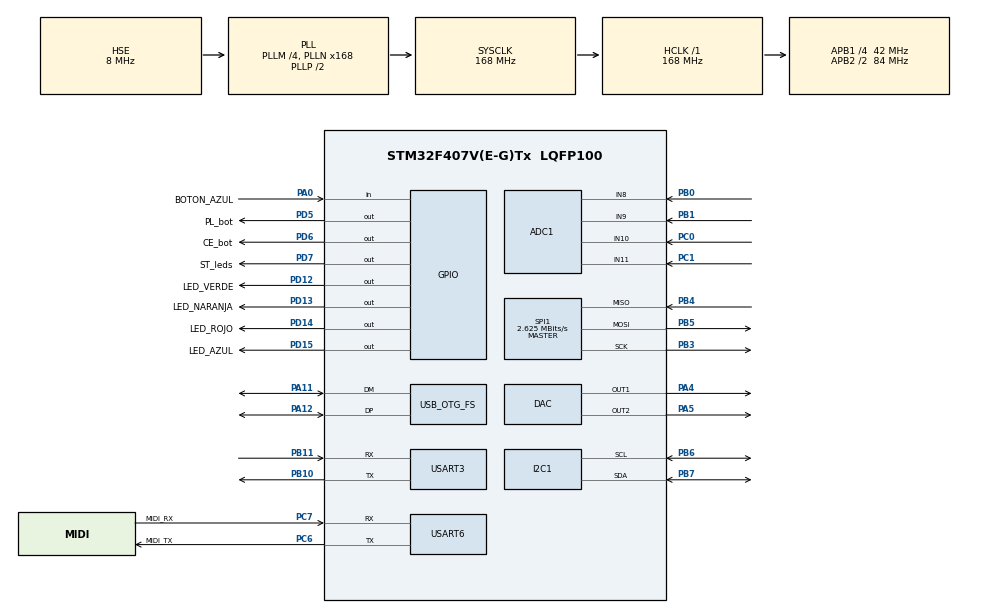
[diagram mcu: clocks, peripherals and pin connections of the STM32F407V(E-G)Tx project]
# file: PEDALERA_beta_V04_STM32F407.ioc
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ADC1.Channel-0\#ChannelRegularConversion=ADC_CHANNEL_8
ADC1.Channel-1\#ChannelRegularConversion=ADC_CHANNEL_9
ADC1.Channel-2\#ChannelRegularConversion=ADC_CHANNEL_10
ADC1.ContinuousConvMode=DISABLE
ADC1.NbrOfConversion=3
ADC1.NbrOfConversionFlag=1
ADC1.Rank-0\#ChannelRegularConversion=1
ADC1.Rank-1\#ChannelRegularConversion=2
ADC1.Rank-2\#ChannelRegularConversion=3
ADC1.SamplingTime-0\#ChannelRegularConversion=ADC_SAMPLETIME_15CYCLES
ADC1.SamplingTime-1\#ChannelRegularConversion=ADC_SAMPLETIME_15CYCLES
ADC1.SamplingTime-2\#ChannelRegularConversion=ADC_SAMPLETIME_15CYCLES
ADC1.master=1
I2C1.I2C_Mode=I2C_Fast
Mcu.Family=STM32F4
Mcu.Name=STM32F407V(E-G)Tx
Mcu.Package=LQFP100
Mcu.UserConstants=USE_USB_FS,1
NVIC.ADC_IRQn=true\:0\:0\:false\:false\:true\:true\:true
NVIC.I2C1_ER_IRQn=true\:0\:0\:false\:false\:true\:true\:true
NVIC.I2C1_EV_IRQn=true\:0\:0\:false\:false\:true\:true\:true
NVIC.OTG_FS_IRQn=true\:0\:0\:false\:false\:true\:false\:true
NVIC.PriorityGroup=NVIC_PRIORITYGROUP_0
NVIC.SPI1_IRQn=true\:0\:0\:false\:false\:true\:true\:true
NVIC.TIM2_IRQn=true\:0\:0\:false\:false\:true\:true\:true
NVIC.TIM3_IRQn=true\:0\:0\:false\:false\:true\:true\:true
PA0-WKUP.GPIO_Label=BOTON_AZUL
PA0-WKUP.Signal=GPIO_Input
PA11.Mode=Device_Only
PA11.Signal=USB_OTG_FS_DM
PA12.Mode=Device_Only
PA12.Signal=USB_OTG_FS_DP
PA13.Mode=Serial_Wire
PA13.Signal=SYS_JTMS-SWDIO
PA14.Mode=Serial_Wire
PA14.Signal=SYS_JTCK-SWCLK
PA4.Signal=COMP_DAC1_group
PA5.Signal=COMP_DAC2_group
PB0.Signal=ADCx_IN8
PB1.Signal=ADCx_IN9
PB10.Mode=Asynchronous
PB10.Signal=USART3_TX
PB11.Mode=Asynchronous
PB11.Signal=USART3_RX
PB3.Mode=Full_Duplex_Master
PB3.Signal=SPI1_SCK
PB4.Mode=Full_Duplex_Master
PB4.Signal=SPI1_MISO
PB5.Mode=Full_Duplex_Master
PB5.Signal=SPI1_MOSI
PB6.Mode=I2C
PB6.Signal=I2C1_SCL
PB7.Mode=I2C
PB7.Signal=I2C1_SDA
PC0.Signal=ADCx_IN10
PC1.Signal=ADCx_IN11
PC6.GPIO_Label=MIDI_TX
PC6.Mode=Asynchronous
PC6.Signal=USART6_TX
PC7.GPIO_Label=MIDI_RX
PC7.Mode=Asynchronous
PC7.Signal=USART6_RX
PD12.GPIO_Label=LED_VERDE
PD12.GPIO_PuPd=GPIO_NOPULL
PD12.Signal=GPIO_Output
PD13.GPIO_Label=LED_NARANJA
PD13.GPIO_PuPd=GPIO_NOPULL
PD13.Signal=GPIO_Output
PD14.GPIO_Label=LED_ROJO
PD14.GPIO_PuPd=GPIO_NOPULL
PD14.Signal=GPIO_Output
PD15.GPIO_Label=LED_AZUL
PD15.GPIO_PuPd=GPIO_NOPULL
PD15.Signal=GPIO_Output
PD5.GPIO_Label=PL_bot
PD5.Signal=GPIO_Output
PD6.GPIO_Label=CE_bot
PD6.Signal=GPIO_Output
PD7.GPIO_Label=ST_leds
PD7.Signal=GPIO_Output
PH0-OSC_IN.Mode=HSE-External-Oscillator
PH0-OSC_IN.Signal=RCC_OSC_IN
PH1-OSC_OUT.Mode=HSE-External-Oscillator
PH1-OSC_OUT.Signal=RCC_OSC_OUT
ProjectManager.HeapSize=0x600
ProjectManager.StackSize=0x400
ProjectManager.TargetToolchain=STM32CubeIDE
RCC.48MHZClocksFreq_Value=48000000
RCC.AHBFreq_Value=168000000
RCC.APB1CLKDivider=RCC_HCLK_DIV4
RCC.APB1Freq_Value=42000000
RCC.APB1TimFreq_Value=84000000
RCC.APB2CLKDivider=RCC_HCLK_DIV2
RCC.APB2Freq_Value=84000000
RCC.APB2TimFreq_Value=168000000
RCC.CortexFreq_Value=168000000
RCC.HCLKFreq_Value=168000000
RCC.HSE_VALUE=8000000
RCC.HSI_VALUE=16000000
RCC.LSE_VALUE=32768
RCC.PLLM=4
RCC.PLLN=168
RCC.PLLQ=7
RCC.SYSCLKFreq_VALUE=168000000
RCC.SYSCLKSource=RCC_SYSCLKSOURCE_PLLCLK
RCC.VCOOutputFreq_Value=336000000
SH.ADCx_IN10.0=ADC1_IN10,IN10
SH.ADCx_IN11.0=ADC1_IN11,IN11
SH.ADCx_IN8.0=ADC1_IN8,IN8
SH.ADCx_IN9.0=ADC1_IN9,IN9
SH.COMP_DAC1_group.0=DAC_OUT1,DAC_OUT1
SH.COMP_DAC2_group.0=DAC_OUT2,DAC_OUT2
SPI1.BaudRatePrescaler=SPI_BAUDRATEPRESCALER_32
SPI1.CalculateBaudRate=2.625 MBits/s
SPI1.Direction=SPI_DIRECTION_2LINES
SPI1.FirstBit=SPI_FIRSTBIT_MSB
SPI1.Mode=SPI_MODE_MASTER
SPI1.VirtualType=VM_MASTER
TIM2.Period=840-1
TIM2.Prescaler=100-1
TIM3.Period=16-1
TIM3.Prescaler=119-1
USART3.VirtualMode=VM_ASYNC
USART6.VirtualMode=VM_ASYNC
USB_DEVICE.CLASS_NAME_FS=AUDIO
USB_DEVICE.CONFIGURATION_STRING_AUDIO_FS=MIDI Controller Config
USB_DEVICE.INTERFACE_STRING_AUDIO_FS=MIDI Controller Interface
USB_DEVICE.LANGID_STRING-AUDIO_FS=1040
USB_DEVICE.MANUFACTURER_STRING-AUDIO_FS=S&S Instrumentos
USB_DEVICE.PRODUCT_STRING_AUDIO_FS=S&S Instrumentos
USB_DEVICE.USBD_MAX_NUM_INTERFACES-AUDIO_FS=2
USB_DEVICE.VID-AUDIO_FS=2236
USB_DEVICE.VirtualMode-AUDIO_FS=Audio
USB_DEVICE.VirtualModeFS=Audio_FS
USB_OTG_FS.VirtualMode=Device_Only
VP_TIM2_VS_ClockSourceINT.Mode=Internal
VP_TIM3_VS_ClockSourceINT.Mode=Internal
VP_USB_DEVICE_VS_USB_DEVICE_AUDIO_FS.Mode=AUDIO_FS
board=STM32F407G-DISC1

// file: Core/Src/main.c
/* USER CODE BEGIN Header */
/**
  ******************************************************************************
  * @file           : main.c
  * @brief          : Main program body
  ******************************************************************************
  * @attention
  *
  * <h2><center>&copy; Copyright (c) 2020 STMicroelectronics.
  * All rights reserved.</center></h2>
  *
  * This software component is licensed by ST under BSD 3-Clause license,
  * the "License"; You may not use this file except in compliance with the
  * License. You may obtain a copy of the License at:
  *                        opensource.org/licenses/BSD-3-Clause
  *
  ******************************************************************************
  */
/* USER CODE END Header */

#include "main.h"
#include "adc.h"
#include "dac.h"
#include "i2c.h"
#include "spi.h"
#include "tim.h"
#include "usart.h"
#include "usb_device.h"
#include "gpio.h"

/* USER CODE BEGIN Includes */
#include "buttonsBPMFX.h"
#include "74HC165_SPI_lfs.h"
#include "74_HC595_SPI_lfs.h"
#include "usbd_midi_if.h"
#include "SSpedalBPMFX.h"
#include "osc_dac_lfs.h"

//#include "usbd_core.h"
/* USER CODE END Includes */

/* USER CODE BEGIN PTD */

typedef enum{
	NO_SCREEN,
	TURN_ON_SCREEN,
	PLEASE_WAIT_SCREEN,
	MAIN_SCREEN,
	CHORD_SCREEN,
	TUNNE_SCREEN,
	PRESET_SCREEN,
	RECUEST_FOOTKEY_SCREEN,
	POPUP_SAVED_CHORD,
	POPUP_OCTAVE,
	POPUP_SUSTAIN,
	POPUP_CANCEL,
}SCREEN_NUM;

typedef enum{
	NORMAL,
	SAVE_CHORD,
	SAVE_TUNNE,
}FOOTKEY_FUNC;

/* USER CODE END PTD */

/* USER CODE BEGIN PD */
#define MIDI_C2 36
#define MIDI_B2 47
/* USER CODE END PD */

/* USER CODE BEGIN PM */
#define GETBUTTONSTATUS(BUTTON,EDGE) (EDGE & (0B1 << (BUTTON)))
/* USER CODE END PM */

/* USER CODE BEGIN PV */
unsigned long lastSendNote[] =  { 0,  0,  0,  0,  0,  0,  0,  0,  0,  0,  0,  0,  0};   // vector para apagar la ultima nota mandada por el pedal (salva el error del octavador)
unsigned long lastSustainNote = 0;		//

uint8_t sustainFlag = 1;   /// flag to switch on/off a sustained note.

uint8_t sustainMode = 0; // 0: none, 1: prop, 2: midi.

//variables del adc
uint32_t bufferADC [3] = {0, 0, 0};
uint8_t flag_adc = 0;
uint16_t refresh_adc = 500;

//variables de escritura de leds
uint16_t leds_octava;
uint16_t leds_presets;
uint16_t leds_resto;
uint16_t leds_buffer;

//variables de lectura de botones:
uint32_t read_button = 0xFFFFFFFF;
uint32_t last_button = 0xFFFFFFFF;
uint32_t buttonFall = 0;
uint32_t buttonRise = 0;
uint8_t refresh_buttons = 20;
BUTTON_T teclas[] = {
						IN_DO,
						IN_REb,
						IN_RE,
						IN_MIb,
						IN_MI,
						IN_FA,
						IN_SOLb,
						IN_SOL,
						IN_LAb,
						IN_LA,
						IN_SIb,
						IN_SI,
						IN_DO8,
};

//uint8_t buttonState [STRUCT_LENGTH];
//uint8_t lastState [STRUCT_LENGTH];

uint32_t last_GPIOB_IDR = 0;

SCREEN_NUM menu = MAIN_SCREEN;

uint8_t presetLed = 0; // flag to manage the presets leds. 0 value is the first.

uint8_t acorde = 0;	// flag to switch on/off the chord mode

uint8_t tunne = 0;		// flag to switch on/off the tunne mode

//unsigned int d_pad;  //las flechitas pulsadas: 0-ninguna, 1-arriba, 2-abajo, 3-izquierda, 4-derecha.

SCREEN_NUM screenNum = NO_SCREEN;	//flag to select the screen to display.
SCREEN_NUM last_screenNum = MAIN_SCREEN;	//flag to select the screen to display.

volatile int32_t popup_time = 0;
volatile uint8_t popup_timeUp = 0;

uint8_t lastKey_pos; // used to show the footkey possition in the "pop_up_savedChord()" function.

uint8_t generalState = 0; // global state machine variable.

FOOTKEY_FUNC footKey = NORMAL;

extern unsigned int   chordSelect_cursor;  //posicion del cursor en el menu de acordes.

extern int chord;

extern uint8_t firstDoTunning;

extern int chordInv;

extern int octava;

uint8_t midi_msg[4]; //midi frame to send over USB.

uint8_t flag_tick= 0; // HAL_TIM_PeriodElapsedCallback flag for tick.
uint8_t flag_dac = 0; // HAL_TIM_PeriodElapsedCallback flag for dac.
uint8_t lcd_refresh_time = 25;

/* USER CODE END PV */

void SystemClock_Config(void);
/* USER CODE BEGIN PFP */

void sustainProp(void);
void sustainMIDI(void);
void inputChord(void);
void inputOctave(void);
void inputTunne(void);
void inputPresets(void);
void inputNotes(void);
void inputSaveChord(void);
void chordSelect(void);
void tunneSelect(void);
void sendChord(unsigned long, int, int);
void showLeds(void);

/* USER CODE END PFP */

int main(void)
{

  /* MCU Configuration--------------------------------------------------------*/

  /* Reset of all peripherals, Initializes the Flash interface and the Systick. */
  HAL_Init();

  /* USER CODE BEGIN Init */
  firstDoTunning = 36;

  /* USER CODE END Init */

  /* Configure the system clock */
  SystemClock_Config();

  /* USER CODE BEGIN SysInit */

  /*
   * TIM2 is an 1 ms tick timer.
   * TIM3 is a 44100Hz timer.
   */

  /* USER CODE END SysInit */

  /* Initialize all configured peripherals */
  MX_GPIO_Init();
  MX_DAC_Init();
  MX_I2C1_Init();
  MX_USB_DEVICE_Init();
  MX_TIM2_Init();
  MX_TIM3_Init();
  MX_ADC1_Init();
  MX_USART3_UART_Init();
  MX_USART6_UART_Init();
  MX_SPI1_Init();
  /* USER CODE BEGIN 2 */
  spi_74HC165_init(&hspi1, PL_bot_GPIO_Port, PL_bot_Pin, CE_bot_GPIO_Port, CE_bot_Pin);
  spi_74HC595_init(&hspi1, ST_leds_GPIO_Port, ST_leds_Pin);

  adc_potes_init();

  HAL_TIM_Base_Start_IT(&htim2); // 1 ms tick timer.
  HAL_TIM_Base_Start_IT(&htim3); // 44100Hz timer.

  osc_dac_init(&hdac, DAC_CHANNEL_1);
  osc_setRatios(100, 100, 100);

  leds_buffer = 0xFFFF;
  spi_74HC595_Transmit((uint8_t*) &leds_buffer, 2 /*bytes*/);

  lcd_init(&hi2c1, 0x3f);

  //rutina de encendido//

  turnOnScreen();
  HAL_Delay(500);
  showLeds();
  HAL_Delay(500);
  mainScreen();
  leds_octava = 0b1 << LED_OCT_M;
  leds_buffer = leds_octava;
  leds_buffer = ~leds_buffer;
  spi_74HC595_Transmit((uint8_t*) &leds_buffer, 2 /*bytes*/);

  HAL_ADC_Start_IT(&hadc1);
  //fin rutina de encendido//

  //mensaje midi de prueba//
//  midi_msg[0] = 0x0C;	//0x0C == type event (program change)
//  midi_msg[1] = 0xC0 | 1;
//  midi_msg[2] = 60;
//  midi_msg[3] = 0;	//last param == 0 (unused in program change).
//  MIDI_SendBuffer(midi_msg, 4);
  //fin mensaje midi de prueba//

//  osc_setNote(24);

  /* USER CODE END 2 */

  /* Infinite loop */
  /* USER CODE BEGIN WHILE */
  while (1)
  {
	  switch (screenNum){
	  		case MAIN_SCREEN:
	  			mainScreen();
	  			last_screenNum = screenNum;
	  		break;
	  		case CHORD_SCREEN:
	  			chordScreen();
	  			last_screenNum = screenNum;
	  		break;
	  		case TUNNE_SCREEN:
	  			tunneScreen();
	  			last_screenNum = screenNum;
	  		break;
	  		case RECUEST_FOOTKEY_SCREEN:
	  			recuest_footkey();
	  			last_screenNum = screenNum; //this variable must store the CHORD_SCREEN value, to use it as return point.
	  		break;
	  		case POPUP_OCTAVE:
	  			on_off_octave();
	  			popup_time = 2000;
	  		break;
	  		case POPUP_SAVED_CHORD:
	  			pop_up_savedChord(lastKey_pos);
	  			last_screenNum = CHORD_SCREEN;
	  			popup_time = 2000;
	  		break;
	  		case POPUP_SUSTAIN:
	  			pop_up_sustain();
	  			popup_time = 2000;
	  		break;
	  		case POPUP_CANCEL:
	  			pop_up_cancel();
	  			popup_time = 2000;
	  			last_screenNum = CHORD_SCREEN;
	  		break;
	  		default:
	  		break;
	  	}
	  	screenNum = NO_SCREEN;

	  	if (popup_timeUp){
	  		if (screenNum == NO_SCREEN) screenNum = last_screenNum;
	  		popup_timeUp = 0;
	  	}

	  	//botones y teclas
	  	buttonFall = last_button & ~read_button;
	  	buttonRise = ~last_button & read_button;
	  	if (GETBUTTONSTATUS(IN_BACK, buttonFall)){
	  		screenNum = MAIN_SCREEN;
	  		menu = MAIN_SCREEN;
	  	}
	  	if (GETBUTTONSTATUS(IN_SUST_PROP, buttonFall)){
	  		sustainProp();
	  	}
	  	if (GETBUTTONSTATUS(IN_SUST_MIDI, buttonFall)){
	  		sustainMIDI();
	  	}
	  	if (GETBUTTONSTATUS(IN_CHORD, buttonFall)){
	  		inputChord();
	  	}
	  	inputOctave();
	  	if (GETBUTTONSTATUS(IN_TUNNE, buttonFall)){
	  		inputTunne();
	  	}
	  	inputPresets();

	  	last_button = read_button;
	  	//fin botones y teclas

	  	/*
	  	switch (footKey){
	  		case NORMAL:

	  			inputNotes();

	  		break;
	  		case SAVE_CHORD:

	  			inputSaveChord();
	  		default:
	  		break;
	  	}
	  	*/

	    switch (menu){ //manage the recuested menu function.
	    	case MAIN_SCREEN:
	    		inputNotes();
	    	break;
	  		case CHORD_SCREEN:
	  			chordSelect();
	  			inputNotes();
	  		break;
	  		case TUNNE_SCREEN:
	  			tunneSelect();
	  			inputNotes();
	  		break;
	  		case RECUEST_FOOTKEY_SCREEN:
	  			inputSaveChord(); // @suppress("No break at end of case")
	  		default:
	  		break;

	    }

	    MIDI_SendCheck();

		if (flag_dac != 0){
		  osc_dac_update();
		  flag_dac = 0;
		}

	    if (flag_tick != 0){

	    	if (lcd_refresh_time != 0){
	    		lcd_refresh_time--;
	    	}else{
	    		lcd_upDate_IT();
	    		lcd_refresh_time = 25;
	    	}//end if lcd_refresh_time

	    	if (popup_time != 0){
				popup_time--;
				if (popup_time == 1) popup_timeUp = 1;
			}//end if popup_time

	    	if (refresh_buttons != 0){
	    		refresh_buttons--;
	    	}else{
//	    		last_button = read_button;
	    		spi_74HC165_receive((uint8_t *)&read_button, sizeof(read_button));

//	    		buttonFall = last_button & ~read_button;
//	    		buttonRise = ~last_button & read_button;

	    		leds_buffer = leds_octava | leds_presets | leds_resto;
	    		leds_buffer = ~leds_buffer; //pasa a logica negativa
	    		spi_74HC595_Transmit((uint8_t*) &leds_buffer, 2 /*bytes*/);

//	    		for (uint8_t i = 0; i < 16; i++){
//	    			buff_leds = 0x1 << i;
//	    			spi_74HC595_Transmit((uint8_t*) &buff_leds, 2);
//	    			__NOP();
//	    		}

	    		refresh_buttons = 20;
	    	}

	    	if (refresh_adc != 0){
	    		refresh_adc--;
	    	}else{
	    		if (flag_adc != 0){

	    			set_nextPote();

//	    			HAL_ADC_Start_IT(&hadc1);

	    			flag_adc = 0;

	    			refresh_adc = 500;
	    		}else{
	    			HAL_ADC_Start_IT(&hadc1);
	    		}
	    	}

	    	flag_tick = 0;
	    }// end flag_tick

    /* USER CODE END WHILE */

  }
}

void SystemClock_Config(void)
{
  RCC_OscInitTypeDef RCC_OscInitStruct = {0};
  RCC_ClkInitTypeDef RCC_ClkInitStruct = {0};

  /** Configure the main internal regulator output voltage
  */
  __HAL_RCC_PWR_CLK_ENABLE();
  __HAL_PWR_VOLTAGESCALING_CONFIG(PWR_REGULATOR_VOLTAGE_SCALE1);
  /** Initializes the CPU, AHB and APB busses clocks
  */
  RCC_OscInitStruct.OscillatorType = RCC_OSCILLATORTYPE_HSE;
  RCC_OscInitStruct.HSEState = RCC_HSE_ON;
  RCC_OscInitStruct.PLL.PLLState = RCC_PLL_ON;
  RCC_OscInitStruct.PLL.PLLSource = RCC_PLLSOURCE_HSE;
  RCC_OscInitStruct.PLL.PLLM = 4;
  RCC_OscInitStruct.PLL.PLLN = 168;
  RCC_OscInitStruct.PLL.PLLP = RCC_PLLP_DIV2;
  RCC_OscInitStruct.PLL.PLLQ = 7;
  if (HAL_RCC_OscConfig(&RCC_OscInitStruct) != HAL_OK)
  {
    Error_Handler();
  }
  /** Initializes the CPU, AHB and APB busses clocks
  */
  RCC_ClkInitStruct.ClockType = RCC_CLOCKTYPE_HCLK|RCC_CLOCKTYPE_SYSCLK
                              |RCC_CLOCKTYPE_PCLK1|RCC_CLOCKTYPE_PCLK2;
  RCC_ClkInitStruct.SYSCLKSource = RCC_SYSCLKSOURCE_PLLCLK;
  RCC_ClkInitStruct.AHBCLKDivider = RCC_SYSCLK_DIV1;
  RCC_ClkInitStruct.APB1CLKDivider = RCC_HCLK_DIV4;
  RCC_ClkInitStruct.APB2CLKDivider = RCC_HCLK_DIV2;

  if (HAL_RCC_ClockConfig(&RCC_ClkInitStruct, FLASH_LATENCY_5) != HAL_OK)
  {
    Error_Handler();
  }
}

/* USER CODE BEGIN 4 */

void sustainProp (void){

		for (int j = 0; j <= 12; j++){
			sendChord(lastSendNote[j], 0, 1); // silents all notes
		}

		switch (sustainMode){
			case 2:
				//event = {0x0B, 0xB0 | MIDI_CHANNEL, 64, 0};
				//MidiUSB.sendMIDI(event);
				midi_msg[0] = 0x0B; //0x0B == type event (control change)
				midi_msg[1] = 0xB0 | 1;
				midi_msg[2] = 64;	// 64 == sustain.
				midi_msg[3] = 0;
				MIDI_SendBuffer(midi_msg, 4); // @suppress("No break at end of case")
			case 0:
				lastSustainNote = 0;
				sustainMode = 1; //prop
				leds_resto |= 0x1 << LED_SUST_P;
				leds_resto &= ~(0x1 << LED_SUST_M);
			break;

			case 1:
				sustainFlag = 1;
				sustainMode = 0;
				leds_resto &= ~(0x1 << LED_SUST_M);
				leds_resto &= ~(0x1 << LED_SUST_P);
			break;
		} //end switch

		screenNum = POPUP_SUSTAIN;

} //end sustainProp()

void sustainMIDI (void){

		switch (sustainMode){
			case 0:
			case 1:
				sustainFlag = 1;	// needed to normal notes functioning.

				midi_msg[0] = 0x0B;		//0x0B == type event (control change),
				midi_msg[1] = 0xB0 | 1;
				midi_msg[2] = 64;	//64 == sustain.
				midi_msg[3] = 127;
				MIDI_SendBuffer(midi_msg, 4);

				sustainMode = 2;
				leds_resto |= 0x1 << LED_SUST_M;
				leds_resto &= ~(0x1 << LED_SUST_P);
			break;
			case 2:
				midi_msg[0] = 0x0B;	//0x0B == type event (control change)
				midi_msg[1] = 0xB0 | 1;
				midi_msg[2] = 64;	//64 == sustain.
				midi_msg[3] = 0;
				MIDI_SendBuffer(midi_msg, 4);

				sustainMode = 0;
				leds_resto &= ~(0x1 << LED_SUST_M);
				leds_resto &= ~(0x1 << LED_SUST_P);
			break;
		} //end switch

		screenNum = POPUP_SUSTAIN;
} //end sustainMIDI()

void inputChord (void){

	switch (menu){
		case MAIN_SCREEN:
			if (acorde != 0){
				acorde = 0;
				leds_resto &= ~(0x1 << LED_CHORD);
				screenNum = MAIN_SCREEN;
			}else{
				screenNum = CHORD_SCREEN;
				menu = CHORD_SCREEN;
				acorde = 1;
				leds_resto |= 0x1 << LED_CHORD;
			} //fin if acorde
		break;
		case CHORD_SCREEN:
			screenNum = MAIN_SCREEN;
			menu = MAIN_SCREEN;
			acorde = 0;
			leds_resto &= ~(0x1 << LED_CHORD);
		break;
		default:
			screenNum = CHORD_SCREEN;
			menu = CHORD_SCREEN;
			acorde = 1;
			leds_resto |= 0x1 << LED_CHORD;
		break;
	} //fin switch menu

} //end inputChord()

void inputOctave (void){

	if(GETBUTTONSTATUS(IN_OCT_G, buttonFall)){
		octava = -1;
		screenNum=POPUP_OCTAVE;
		leds_octava = 0x1 << LED_OCT_G;
		return;
	}

	if (GETBUTTONSTATUS(IN_OCT_M, buttonFall)){
		octava = 0;
		screenNum=POPUP_OCTAVE;
		leds_octava = 0x1 << LED_OCT_M;
		return;
	}

	if (GETBUTTONSTATUS(IN_OCT_A, buttonFall)){
		octava = 1;
		screenNum=POPUP_OCTAVE;
		leds_octava = 0x1 << LED_OCT_A;
		return;
	}
} //end inputOctave()

void inputTunne(void){

      if (menu != TUNNE_SCREEN){
		screenNum = TUNNE_SCREEN;
		menu = TUNNE_SCREEN;
	  }else{
		screenNum = MAIN_SCREEN;
		menu = MAIN_SCREEN;
	  } //end  if menu

} //end inputTunne()

void inputPresets (void){
	for (int i = 0; i < 6; i++){                                         // 6 presets en total.

		if (GETBUTTONSTATUS(i + IN_PRESET0, buttonFall)){
			midi_msg[0] = 0x0C;	//0x0C == type event (program change)
			midi_msg[1] = 0xC0 | 1;
			midi_msg[2] = i;
			midi_msg[3] = 0;	//last param == 0 (unused in program change).
			MIDI_SendBuffer(midi_msg, 4);
			if (i == 5){
				leds_presets = 0x1;
			}else{
				leds_presets = 0x1 << (LED_PS0 + i);
			}
		} //end if GETBUTTONSTATUS

	} //end for

} //end inputPresets()

void inputNotes(void){

  uint8_t pressedNote;

  for (int i = 0; i <= 12; i++){

//    buttonState[i + IN_DO] = HAL_GPIO_ReadPin(notePort_list[i], notePin_list[i]); //read current button pin.

//    if(!buttonState[i + IN_DO] && lastState[i + IN_DO]){  // If we read 1, and the last time we read 0, means button was just pressed.
    if (GETBUTTONSTATUS(teclas[i], buttonFall)){
        pressedNote = firstDoTunning + i + 12 * octava; //detects the pressed note.

    	if (acorde){ //If chord mode is on...
            lastSendNote[i] = makeChord(pressedNote, i); // saves the current chord config. on pressed note.

        }else{ //If chord mode is off...

            lastSendNote[i] = pressedNote; // saves nothing but pressed note.
        } //end if acorde

        if (sustainMode == 1){ // If proprietary sustain mode on...

			if (lastSustainNote != lastSendNote[i]){ // If last sustained note differs from the current pressed one...

				sendChord(lastSustainNote, 0, 1); // mute current chord. 0 in second param means "noteOff".
				lastSustainNote = lastSendNote[i]; // and saves the current sustained note.
				sustainFlag = 1; // turn sustained note on

			}else{ // If last sustained note and the current pressed one are the same...

				sustainFlag = !sustainFlag; // turn sustained note off.

			}//end if lastSustainNote...
        }//end if sustainMode

        sendChord(lastSendNote[i], 127 * sustainFlag, 1); //send the appropriate midi message.

        if (sustainFlag != 0){
        	osc_setNote(pressedNote);
        }else{
        	osc_setNote(0);
        }

    }else if(GETBUTTONSTATUS(teclas[i], buttonRise)){

    	if (sustainMode != 1){ // If proprietary sustain mode off...
			sendChord(lastSendNote[i], 0, 1); // 0 in second param means "noteOff".
			osc_setNote(0); // turn DAC off.
        }
    }

  }
}

void inputSaveChord(void){

uint8_t flag = 0;

	for (int i = 0; i <= 12; i++){

//		buttonState[i + IN_DO] = HAL_GPIO_ReadPin(notePort_list[i], notePin_list[i]);

//		if(!buttonState[i + IN_DO] && lastState[i + IN_DO]){       // If we read 1, and the last time we read 0, means button was just pressed
		if (GETBUTTONSTATUS(teclas[i], buttonFall)){

			//storing the selected chord:
			setChord(i);
			footKey = NORMAL;
			screenNum = POPUP_SAVED_CHORD;
			menu = CHORD_SCREEN; 				//return point to chordSelect().
			lastKey_pos = i; 					// to show in screen the foot key pressed.
			flag = 1;
			break; 								 //it must exit from function.
		} //end if getStatusButton
	} //end for

	if (!flag){

		if (GETBUTTONSTATUS(IN_LEFT, buttonFall)){
			footKey = NORMAL;
			screenNum = POPUP_CANCEL;
			menu = CHORD_SCREEN;
		}
	} //end if !flag

} //end inputSaveChord()

void chordSelect(void){

  uint8_t flag = 0;

  switch (chordSelect_cursor){

		case 0:

			if (GETBUTTONSTATUS(IN_DOWN, buttonFall)){
				chordSelect_cursor++;
				flag = 1;
			}
			if (GETBUTTONSTATUS(IN_LEFT, buttonFall)){
				chord--;
				if (chord < 0)
					chord = 7;
				flag = 1;
			}
			if (GETBUTTONSTATUS(IN_RIGHT, buttonFall)){
				chord++;
				if (chord > 7)
					chord = 0;
				flag = 1;
			}

		break;
		case 1:

			if (GETBUTTONSTATUS(IN_UP, buttonFall)){
				chordSelect_cursor--;
				flag = 1;
			}
			if (GETBUTTONSTATUS(IN_DOWN, buttonFall)){
				chordSelect_cursor++;
				flag = 1;
			}
			if (GETBUTTONSTATUS(IN_LEFT, buttonFall)){
				chordInv--;
				if (chordInv < 0)
					chordInv = 2;
				flag = 1;
			}
			if (GETBUTTONSTATUS(IN_RIGHT, buttonFall)){
				chordInv++;
				if (chordInv > 2)
					chordInv = 0;
				flag = 1;
			}

		break;
		case 2:

			if (GETBUTTONSTATUS(IN_UP, buttonFall)){
				chordSelect_cursor--;
				flag = 1;
			}
			if (GETBUTTONSTATUS(IN_RIGHT, buttonFall)){
				footKey = SAVE_CHORD; //
				menu = RECUEST_FOOTKEY_SCREEN;
				screenNum = RECUEST_FOOTKEY_SCREEN;
			}

		break;
	} //fin switch chordSelect_cursor

  if (flag){        ///flag de impresion

      screenNum = CHORD_SCREEN;
  }
}

void tunneSelect(void){
	uint8_t flag = 0;

	if (GETBUTTONSTATUS(IN_LEFT, buttonFall)){
		firstDoTunning--;
		if (firstDoTunning < MIDI_C2)
			firstDoTunning = MIDI_B2;
		flag = 1;
	}
	if (GETBUTTONSTATUS(IN_RIGHT, buttonFall)){
		firstDoTunning++;
		if (firstDoTunning >MIDI_B2)
			firstDoTunning = MIDI_C2;
		flag = 1;
	}

	if (flag){
		screenNum = TUNNE_SCREEN;
	}
}

void sendChord(unsigned long bnotes, int velocity, int channel){

  uint8_t note1;
  uint8_t note2;
  uint8_t note3;

  note1 = (bnotes & 0x7f);
  note2 = (bnotes >> 8) & 0x7f;
  note3 = (bnotes >> 16) & 0x7f;

  midi_msg[0] = 0x09;	//0x09 == type event (noteOn).
  midi_msg[1] = 0x90 | 1;
  midi_msg[2] = note1;
  midi_msg[3] = velocity;
  MIDI_SendBuffer(midi_msg, 4);

  if (note2 && note3){

	  midi_msg[0] = 0x09;	//0x09 == type event (noteOn).
	  midi_msg[1] = 0x90 | 1;
	  midi_msg[2] = note2;
	  midi_msg[3] = velocity;
	  MIDI_SendBuffer(midi_msg, 4);

	  midi_msg[0] = 0x09;	//0x09 == type event (noteOn).
	  midi_msg[1] = 0x90 | 1;
	  midi_msg[2] = note3;
	  midi_msg[3] = velocity;
	  MIDI_SendBuffer(midi_msg, 4);
  }
} //fin sendChord()

void showLeds(void){

	uint16_t demora = 50;
	uint8_t posLed[] = {	LED_OCT_G,
							LED_OCT_M,
							LED_OCT_A,
							LED_PS0,
							LED_PS1,
							LED_PS2,
							LED_PS3,
							LED_PS4,
							LED_PS5,
							LED_SUST_P,
							LED_SUST_M,
							LED_CHORD };

	uint16_t indexLed = 0x1 << LED_OCT_G;
	indexLed = ~indexLed;
	spi_74HC595_Transmit((uint8_t *)&indexLed, 2/*bytes*/);
	HAL_Delay(demora);

	indexLed = (0x1 << posLed[0]) | (0x1 << posLed[1]);
	indexLed = ~indexLed;
	spi_74HC595_Transmit((uint8_t *)&indexLed, 2/*bytes*/);
	HAL_Delay(demora);

	for (uint8_t i=0; i<10; i++){
		indexLed = (0x1 << posLed[i]) | (0x1 << posLed[i + 1]) | (0x1 << posLed[i + 2]);
		indexLed = ~indexLed;
		spi_74HC595_Transmit((uint8_t *)&indexLed, 2/*bytes*/);
		HAL_Delay(demora);
	}

	indexLed = (0x1 << posLed[10]) | (0x1 << posLed[11]);
	indexLed = ~indexLed;
	spi_74HC595_Transmit((uint8_t *)&indexLed, 2/*bytes*/);
	HAL_Delay(demora);

	indexLed = 0x1 << LED_CHORD;
	indexLed = ~indexLed;
	spi_74HC595_Transmit((uint8_t *)&indexLed, 2/*bytes*/);
	HAL_Delay(demora);

	indexLed = 0xFFFF;
	spi_74HC595_Transmit((uint8_t *)&indexLed, 2/*bytes*/);
}

void HAL_TIM_PeriodElapsedCallback(TIM_HandleTypeDef *htim){
	if (htim->Instance == TIM3){ // dac
		flag_dac = 1;
	}else if (htim->Instance == TIM2){ //tick
		flag_tick = 1;
	}

}

void HAL_I2C_MasterTxCpltCallback(I2C_HandleTypeDef *hi2c){
	_lcd_ISR();
}

void HAL_ADC_ConvCpltCallback(ADC_HandleTypeDef* hadc){
	flag_adc = 1;
}
/* USER CODE END 4 */

void Error_Handler(void)
{
}

/************************ (C) COPYRIGHT STMicroelectronics *****END OF FILE****/
